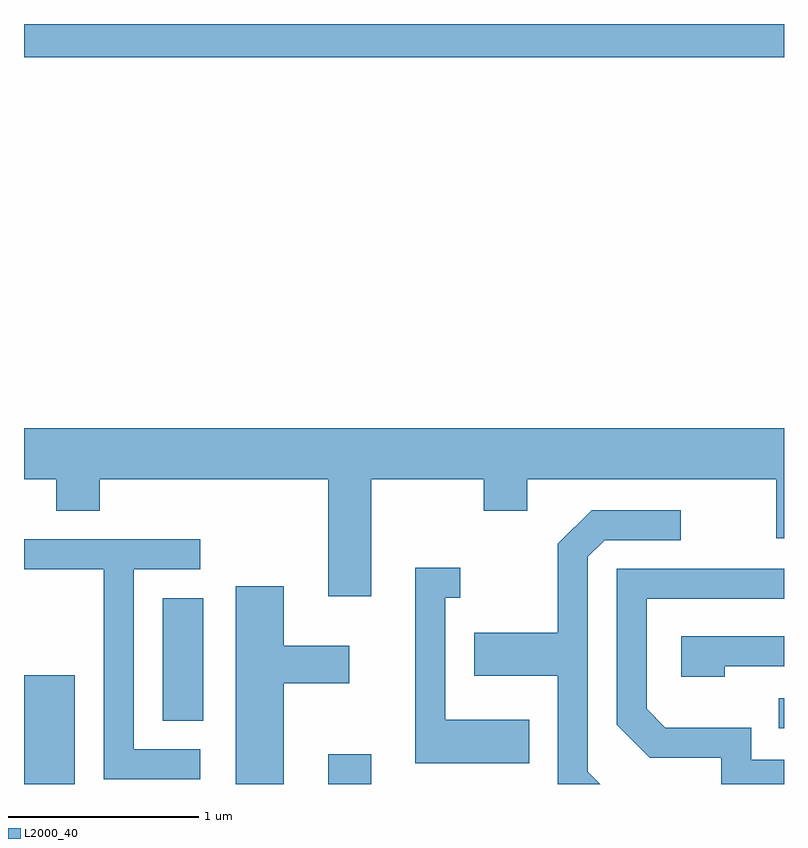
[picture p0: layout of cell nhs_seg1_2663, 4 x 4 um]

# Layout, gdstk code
import gdstk
lib = gdstk.Library(unit=1e-6, precision=1e-09)
def R(c, l, rs):  # rectangles x0, y0, x1, y1
    for r in rs: c.add(gdstk.rectangle(r[:2], r[2:], *l))
def P(c, l, *ps):  # polygons
    for p in ps: c.add(gdstk.Polygon(p, *l))
L2000_40 = (2000, 40)

nhs_seg1_2663 = lib.new_cell('nhs_seg1_2663')
R(nhs_seg1_2663, L2000_40, [(265.611,935.712,265.879,936.284), (267.211,935.712,267.439,935.869), (269.583,936.006,269.611,936.164), (266.341,936.046,266.554,936.689), (265.611,939.536,269.611,939.712)])
P(nhs_seg1_2663, L2000_40, [(267.439,937.316),(268.031,937.316),(268.031,937.151),(268.259,937.151),(268.259,937.316),(269.571,937.316),(269.571,937.006),(269.611,937.006),(269.611,937.584),(265.611,937.584),(265.611,937.316),(265.781,937.316),(265.781,937.151),(266.009,937.151),(266.009,937.316),(267.211,937.316),(267.211,936.701),(267.439,936.701)],
  [(268.579,935.777),(268.579,936.909),(268.667,936.996),(269.068,936.996),(269.068,937.154),(268.599,937.154),(268.421,936.977),(268.421,936.509),(267.981,936.509),(267.981,936.281),(268.421,936.281),(268.421,935.712),(268.644,935.712)],
  [(266.538,935.894),(266.189,935.894),(266.189,936.841),(266.538,936.841),(266.538,936.999),(265.611,936.999),(265.611,936.841),(266.031,936.841),(266.031,935.736),(266.538,935.736)],
  [(268.269,936.049),(267.829,936.049),(267.829,936.691),(267.908,936.691),(267.908,936.849),(267.671,936.849),(267.671,935.821),(268.269,935.821)],
  [(269.611,935.839),(269.439,935.839),(269.439,936.009),(268.987,936.009),(268.889,936.107),(268.889,936.686),(269.611,936.686),(269.611,936.844),(268.731,936.844),(268.731,936.024),(268.904,935.851),(269.281,935.851),(269.281,935.712),(269.611,935.712)],
  [(266.979,936.241),(267.324,936.241),(267.324,936.439),(266.979,936.439),(266.979,936.754),(266.726,936.754),(266.726,935.712),(266.979,935.712)],
  [(269.299,936.331),(269.611,936.331),(269.611,936.489),(269.071,936.489),(269.071,936.276),(269.299,936.276)])

lib.write_gds('nhs_seg1_2663.gds')
